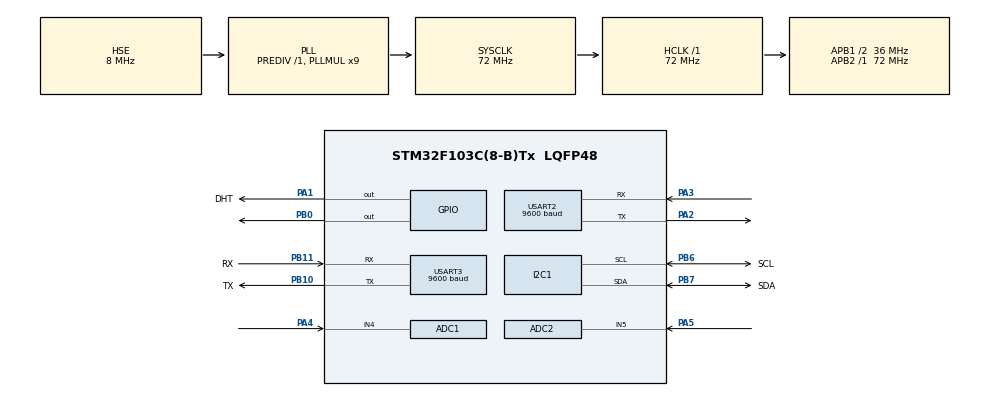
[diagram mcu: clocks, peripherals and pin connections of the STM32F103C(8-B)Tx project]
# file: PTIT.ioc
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ADC1.Channel-2\#ChannelRegularConversion=ADC_CHANNEL_4
ADC1.ContinuousConvMode=ENABLE
ADC1.NbrOfConversionFlag=1
ADC1.Rank-2\#ChannelRegularConversion=1
ADC1.SamplingTime-2\#ChannelRegularConversion=ADC_SAMPLETIME_1CYCLE_5
ADC1.master=1
ADC2.Channel-2\#ChannelRegularConversion=ADC_CHANNEL_5
ADC2.ContinuousConvMode=ENABLE
ADC2.NbrOfConversionFlag=1
ADC2.Rank-2\#ChannelRegularConversion=1
ADC2.SamplingTime-2\#ChannelRegularConversion=ADC_SAMPLETIME_1CYCLE_5
FREERTOS.Tasks01=defaultTask,0,128,StartDefaultTask,Default,NULL,Dynamic,NULL,NULL
Mcu.Family=STM32F1
Mcu.Name=STM32F103C(8-B)Tx
Mcu.Package=LQFP48
NVIC.PriorityGroup=NVIC_PRIORITYGROUP_4
NVIC.TIM4_IRQn=true\:15\:0\:false\:false\:true\:false\:false\:true\:true
NVIC.TimeBase=TIM4_IRQn
NVIC.TimeBaseIP=TIM4
NVIC.USART3_IRQn=true\:5\:0\:false\:false\:true\:true\:true\:true\:true
PA1.GPIO_Label=DHT
PA1.Signal=GPIO_Output
PA13.Mode=Serial_Wire
PA13.Signal=SYS_JTMS-SWDIO
PA14.Mode=Serial_Wire
PA14.Signal=SYS_JTCK-SWCLK
PA2.Mode=Asynchronous
PA2.Signal=USART2_TX
PA3.Mode=Asynchronous
PA3.Signal=USART2_RX
PA4.Signal=ADCx_IN4
PA5.Signal=ADCx_IN5
PB0.Signal=GPIO_Output
PB10.GPIO_Label=TX
PB10.Mode=Asynchronous
PB10.Signal=USART3_TX
PB11.GPIO_Label=RX
PB11.Mode=Asynchronous
PB11.Signal=USART3_RX
PB6.GPIO_Label=SCL
PB6.Mode=I2C
PB6.Signal=I2C1_SCL
PB7.GPIO_Label=SDA
PB7.Mode=I2C
PB7.Signal=I2C1_SDA
PD0-OSC_IN.Mode=HSE-External-Oscillator
PD0-OSC_IN.Signal=RCC_OSC_IN
PD1-OSC_OUT.Mode=HSE-External-Oscillator
PD1-OSC_OUT.Signal=RCC_OSC_OUT
ProjectManager.HeapSize=0x200
ProjectManager.StackSize=0x400
ProjectManager.TargetToolchain=MDK-ARM V5.32
RCC.ADCPresc=RCC_ADCPCLK2_DIV6
RCC.AHBFreq_Value=72000000
RCC.APB1CLKDivider=RCC_HCLK_DIV2
RCC.APB1Freq_Value=36000000
RCC.APB1TimFreq_Value=72000000
RCC.APB2Freq_Value=72000000
RCC.APB2TimFreq_Value=72000000
RCC.HCLKFreq_Value=72000000
RCC.PLLMUL=RCC_PLL_MUL9
RCC.PLLSourceVirtual=RCC_PLLSOURCE_HSE
RCC.SYSCLKFreq_VALUE=72000000
RCC.SYSCLKSource=RCC_SYSCLKSOURCE_PLLCLK
RCC.USBFreq_Value=72000000
SH.ADCx_IN4.0=ADC1_IN4,IN4
SH.ADCx_IN5.0=ADC2_IN5,IN5
TIM3.Period=0xffff-1
TIM3.Prescaler=72-1
USART2.BaudRate=9600
USART2.VirtualMode=VM_ASYNC
USART3.BaudRate=9600
USART3.VirtualMode=VM_ASYNC
VP_FREERTOS_VS_CMSIS_V1.Mode=CMSIS_V1
VP_SYS_VS_tim4.Mode=TIM4
VP_TIM3_VS_ClockSourceINT.Mode=Internal
board=custom

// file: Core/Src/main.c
/* USER CODE BEGIN Header */
/**
  ****************************************************************************
  * @file           : main.c
  * @brief          : Main program body
  ****************************************************************************
  * @attention
  *
  * Copyright (c) 2024 STMicroelectronics.
  * All rights reserved.
  *
  * This software is licensed under terms that can be found in the LICENSE file
  * in the root directory of this software component.
  * If no LICENSE file comes with this software, it is provided AS-IS.
  *
  ****************************************************************************
  */
/* USER CODE END Header */
#include "main.h"
#include "cmsis_os.h"

/* USER CODE BEGIN Includes */
#include <string.h>
#include "stdio.h"
unsigned char S[]={26};
#define SUB      HAL_UART_Transmit(&huart2,(unsigned char*)S,1,1000);
#include "CLCD_I2C.h"
/* USER CODE END Includes */

/* USER CODE BEGIN PD */

uint8_t gas;
uint8_t flame;
uint8_t THRESHOLD;

char temp[5];
char humi[5];
char send_str[33]={'\0'};
char Num_str[10]={"815123696"};
char	strmess[20] = {"gas"};
char	strmess1[20] = {"burn"};
osThreadId DHT11_TaskHandle;
osThreadId MQ2_TaskHandle;
osThreadId FlameSensor_TaskHandle;
osSemaphoreId myBinarySem01Handle;
/* USER CODE END PD */

ADC_HandleTypeDef hadc1;
ADC_HandleTypeDef hadc2;

I2C_HandleTypeDef hi2c1;

TIM_HandleTypeDef htim3;

UART_HandleTypeDef huart2;
UART_HandleTypeDef huart3;

osThreadId defaultTaskHandle;
/* USER CODE BEGIN PV */
CLCD_I2C_Name LCD1;
char rx_buffer[1];
/* USER CODE END PV */

void SystemClock_Config(void);
static void MX_GPIO_Init(void);
static void MX_USART3_UART_Init(void);
static void MX_TIM3_Init(void);
static void MX_I2C1_Init(void);
static void MX_USART2_UART_Init(void);
static void MX_ADC1_Init(void);
static void MX_ADC2_Init(void);
void StartDefaultTask(void const * argument);

/* USER CODE BEGIN PFP */
void DHT11_Task(void const * argument);
void MQ2_Task(void const * argument);
void FlameSensor_Task(void const * argument);
/* USER CODE END PFP */

/* USER CODE BEGIN 0 */
void uint8ToString(uint16_t value, char* result) {
    sprintf(result, "%u", value);
}
void	sending_sms_func(void){

	send_str[0] = '\0';
	sprintf(send_str,"AT+CSMP=17,167,0,0\r");
	HAL_UART_Transmit(&huart2,(unsigned char *)send_str,strlen(send_str),1000);
	HAL_Delay(300);
	//osDelay(300);
	send_str[0] = '\0';
	sprintf(send_str,"AT+CMGS=\"+84%s\"\r",Num_str);
	HAL_UART_Transmit(&huart2,(unsigned char *)send_str,strlen(send_str),1000);
	HAL_Delay(300);
	HAL_UART_Transmit(&huart2,(uint8_t*)strmess,strlen(strmess),1000);
	//HAL_UART_Transmit(&huart2,(unsigned char *)sending_sms_str,strlen(sending_sms_str),1000);
	SUB
HAL_Delay(1000);
}
void	calling_func(void){
	HAL_Delay(5000);
	send_str[0] = '\0';
	sprintf(send_str,"ATD+84%s;\r",Num_str);
	HAL_UART_Transmit(&huart2,(unsigned char*)send_str,strlen(send_str),1000);
	HAL_GPIO_WritePin(GPIOB,GPIO_PIN_4,	GPIO_PIN_SET);
	HAL_Delay(35000);
	send_str[0] = '\0';
	sprintf(send_str,"ATH\r");
	HAL_UART_Transmit(&huart2,(unsigned char*)send_str,strlen(send_str),1000);
	HAL_Delay(1000);
}
void	sending_sms_func1(void){

	send_str[0] = '\0';
	sprintf(send_str,"AT+CSMP=17,167,0,0\r");
	HAL_UART_Transmit(&huart2,(unsigned char *)send_str,strlen(send_str),1000);
	HAL_Delay(300);
	//osDelay(300);
	send_str[0] = '\0';
	sprintf(send_str,"AT+CMGS=\"+84%s\"\r",Num_str);
	HAL_UART_Transmit(&huart2,(unsigned char *)send_str,strlen(send_str),1000);
	HAL_Delay(300);
	HAL_UART_Transmit(&huart2,(uint8_t*)strmess1,strlen(strmess1),1000);
	//HAL_UART_Transmit(&huart2,(unsigned char *)sending_sms_str,strlen(sending_sms_str),1000);
	SUB
HAL_Delay(1000);
}
void HAL_UART_RxCpltCallback(UART_HandleTypeDef *huart){

//	switch (rx_buffer[0]){
//		case 'o':
//			pwm_Config=high;
//			break;
//		case 'f':
//			pwm_Config=low;
//		break;
//		}
	HAL_UART_Receive_IT(&huart2,(uint8_t*)rx_buffer,1);
}

/* USER CODE END 0 */

int main(void)
{

  /* MCU Configuration--------------------------------------------------------*/

  /* Reset of all peripherals, Initializes the Flash interface and the Systick. */
  HAL_Init();

  /* Configure the system clock */
  SystemClock_Config();

  /* Initialize all configured peripherals */
  MX_GPIO_Init();
  MX_USART3_UART_Init();
  MX_TIM3_Init();
  MX_I2C1_Init();
  MX_USART2_UART_Init();
  MX_ADC1_Init();
  MX_ADC2_Init();
  /* USER CODE BEGIN 2 */

	CLCD_I2C_Init(&LCD1,&hi2c1,0x4e,16,2);
	CLCD_I2C_SetCursor(&LCD1,0, 0);
  CLCD_I2C_WriteString(&LCD1,"Welcome ");
	HAL_GPIO_WritePin(GPIOA,GPIO_PIN_4,	GPIO_PIN_SET);
	HAL_ADC_Start_IT(&hadc1);
	HAL_ADC_Start_IT(&hadc2);
	HAL_UART_Receive_IT(&huart2,(uint8_t*)rx_buffer,1);
  /* USER CODE END 2 */

  /* Create the thread(s) */
  /* definition and creation of defaultTask */
	 osSemaphoreDef(myBinarySem01);
	myBinarySem01Handle = osSemaphoreCreate(osSemaphore(myBinarySem01), 1);
  osThreadDef(defaultTask, StartDefaultTask, osPriorityNormal, 0, 128);
  defaultTaskHandle = osThreadCreate(osThread(defaultTask), NULL);

  /* USER CODE BEGIN RTOS_THREADS */

  /* USER CODE BEGIN RTOS_THREADS */
//		osThreadDef(taskDHT, DHT11_Task, osPriorityNormal, 0, 128);
//  DHT11_TaskHandle = osThreadCreate(osThread(taskDHT), NULL);

	osThreadDef(taskMQ2, MQ2_Task, osPriorityNormal, 0, 128);
  MQ2_TaskHandle = osThreadCreate(osThread(taskMQ2), NULL);

	osThreadDef(taskFlame, FlameSensor_Task, osPriorityNormal, 0, 128);
  FlameSensor_TaskHandle = osThreadCreate(osThread(taskFlame), NULL);
  /* add threads, ... */
  /* USER CODE END RTOS_THREADS */

  /* Start scheduler */
  osKernelStart();

  /* We should never get here as control is now taken by the scheduler */
  /* Infinite loop */
  while (1)
  {

  }
}

void SystemClock_Config(void)
{
  RCC_OscInitTypeDef RCC_OscInitStruct = {0};
  RCC_ClkInitTypeDef RCC_ClkInitStruct = {0};
  RCC_PeriphCLKInitTypeDef PeriphClkInit = {0};

  /** Initializes the RCC Oscillators according to the specified parameters
  * in the RCC_OscInitTypeDef structure.
  */
  RCC_OscInitStruct.OscillatorType = RCC_OSCILLATORTYPE_HSE;
  RCC_OscInitStruct.HSEState = RCC_HSE_ON;
  RCC_OscInitStruct.HSEPredivValue = RCC_HSE_PREDIV_DIV1;
  RCC_OscInitStruct.HSIState = RCC_HSI_ON;
  RCC_OscInitStruct.PLL.PLLState = RCC_PLL_ON;
  RCC_OscInitStruct.PLL.PLLSource = RCC_PLLSOURCE_HSE;
  RCC_OscInitStruct.PLL.PLLMUL = RCC_PLL_MUL9;
  if (HAL_RCC_OscConfig(&RCC_OscInitStruct) != HAL_OK)
  {
    Error_Handler();
  }

  /** Initializes the CPU, AHB and APB buses clocks
  */
  RCC_ClkInitStruct.ClockType = RCC_CLOCKTYPE_HCLK|RCC_CLOCKTYPE_SYSCLK
                              |RCC_CLOCKTYPE_PCLK1|RCC_CLOCKTYPE_PCLK2;
  RCC_ClkInitStruct.SYSCLKSource = RCC_SYSCLKSOURCE_PLLCLK;
  RCC_ClkInitStruct.AHBCLKDivider = RCC_SYSCLK_DIV1;
  RCC_ClkInitStruct.APB1CLKDivider = RCC_HCLK_DIV2;
  RCC_ClkInitStruct.APB2CLKDivider = RCC_HCLK_DIV1;

  if (HAL_RCC_ClockConfig(&RCC_ClkInitStruct, FLASH_LATENCY_2) != HAL_OK)
  {
    Error_Handler();
  }
  PeriphClkInit.PeriphClockSelection = RCC_PERIPHCLK_ADC;
  PeriphClkInit.AdcClockSelection = RCC_ADCPCLK2_DIV6;
  if (HAL_RCCEx_PeriphCLKConfig(&PeriphClkInit) != HAL_OK)
  {
    Error_Handler();
  }
}

static void MX_ADC1_Init(void)
{

  ADC_ChannelConfTypeDef sConfig = {0};

  /** Common config
  */
  hadc1.Instance = ADC1;
  hadc1.Init.ScanConvMode = ADC_SCAN_DISABLE;
  hadc1.Init.ContinuousConvMode = ENABLE;
  hadc1.Init.DiscontinuousConvMode = DISABLE;
  hadc1.Init.ExternalTrigConv = ADC_SOFTWARE_START;
  hadc1.Init.DataAlign = ADC_DATAALIGN_RIGHT;
  hadc1.Init.NbrOfConversion = 1;
  if (HAL_ADC_Init(&hadc1) != HAL_OK)
  {
    Error_Handler();
  }

  /** Configure Regular Channel
  */
  sConfig.Channel = ADC_CHANNEL_4;
  sConfig.Rank = ADC_REGULAR_RANK_1;
  sConfig.SamplingTime = ADC_SAMPLETIME_1CYCLE_5;
  if (HAL_ADC_ConfigChannel(&hadc1, &sConfig) != HAL_OK)
  {
    Error_Handler();
  }

}

static void MX_ADC2_Init(void)
{

  ADC_ChannelConfTypeDef sConfig = {0};

  /** Common config
  */
  hadc2.Instance = ADC2;
  hadc2.Init.ScanConvMode = ADC_SCAN_DISABLE;
  hadc2.Init.ContinuousConvMode = ENABLE;
  hadc2.Init.DiscontinuousConvMode = DISABLE;
  hadc2.Init.ExternalTrigConv = ADC_SOFTWARE_START;
  hadc2.Init.DataAlign = ADC_DATAALIGN_RIGHT;
  hadc2.Init.NbrOfConversion = 1;
  if (HAL_ADC_Init(&hadc2) != HAL_OK)
  {
    Error_Handler();
  }

  /** Configure Regular Channel
  */
  sConfig.Channel = ADC_CHANNEL_5;
  sConfig.Rank = ADC_REGULAR_RANK_1;
  sConfig.SamplingTime = ADC_SAMPLETIME_1CYCLE_5;
  if (HAL_ADC_ConfigChannel(&hadc2, &sConfig) != HAL_OK)
  {
    Error_Handler();
  }

}

static void MX_I2C1_Init(void)
{

  hi2c1.Instance = I2C1;
  hi2c1.Init.ClockSpeed = 100000;
  hi2c1.Init.DutyCycle = I2C_DUTYCYCLE_2;
  hi2c1.Init.OwnAddress1 = 0;
  hi2c1.Init.AddressingMode = I2C_ADDRESSINGMODE_7BIT;
  hi2c1.Init.DualAddressMode = I2C_DUALADDRESS_DISABLE;
  hi2c1.Init.OwnAddress2 = 0;
  hi2c1.Init.GeneralCallMode = I2C_GENERALCALL_DISABLE;
  hi2c1.Init.NoStretchMode = I2C_NOSTRETCH_DISABLE;
  if (HAL_I2C_Init(&hi2c1) != HAL_OK)
  {
    Error_Handler();
  }

}

static void MX_TIM3_Init(void)
{

  TIM_ClockConfigTypeDef sClockSourceConfig = {0};
  TIM_MasterConfigTypeDef sMasterConfig = {0};

  htim3.Instance = TIM3;
  htim3.Init.Prescaler = 72-1;
  htim3.Init.CounterMode = TIM_COUNTERMODE_UP;
  htim3.Init.Period = 0xffff-1;
  htim3.Init.ClockDivision = TIM_CLOCKDIVISION_DIV1;
  htim3.Init.AutoReloadPreload = TIM_AUTORELOAD_PRELOAD_DISABLE;
  if (HAL_TIM_Base_Init(&htim3) != HAL_OK)
  {
    Error_Handler();
  }
  sClockSourceConfig.ClockSource = TIM_CLOCKSOURCE_INTERNAL;
  if (HAL_TIM_ConfigClockSource(&htim3, &sClockSourceConfig) != HAL_OK)
  {
    Error_Handler();
  }
  sMasterConfig.MasterOutputTrigger = TIM_TRGO_RESET;
  sMasterConfig.MasterSlaveMode = TIM_MASTERSLAVEMODE_DISABLE;
  if (HAL_TIMEx_MasterConfigSynchronization(&htim3, &sMasterConfig) != HAL_OK)
  {
    Error_Handler();
  }

}

static void MX_USART2_UART_Init(void)
{

  huart2.Instance = USART2;
  huart2.Init.BaudRate = 9600;
  huart2.Init.WordLength = UART_WORDLENGTH_8B;
  huart2.Init.StopBits = UART_STOPBITS_1;
  huart2.Init.Parity = UART_PARITY_NONE;
  huart2.Init.Mode = UART_MODE_TX_RX;
  huart2.Init.HwFlowCtl = UART_HWCONTROL_NONE;
  huart2.Init.OverSampling = UART_OVERSAMPLING_16;
  if (HAL_UART_Init(&huart2) != HAL_OK)
  {
    Error_Handler();
  }

}

static void MX_USART3_UART_Init(void)
{

  huart3.Instance = USART3;
  huart3.Init.BaudRate = 9600;
  huart3.Init.WordLength = UART_WORDLENGTH_8B;
  huart3.Init.StopBits = UART_STOPBITS_1;
  huart3.Init.Parity = UART_PARITY_NONE;
  huart3.Init.Mode = UART_MODE_TX_RX;
  huart3.Init.HwFlowCtl = UART_HWCONTROL_NONE;
  huart3.Init.OverSampling = UART_OVERSAMPLING_16;
  if (HAL_UART_Init(&huart3) != HAL_OK)
  {
    Error_Handler();
  }

}

static void MX_GPIO_Init(void)
{
  GPIO_InitTypeDef GPIO_InitStruct = {0};

  /* GPIO Ports Clock Enable */
  __HAL_RCC_GPIOD_CLK_ENABLE();
  __HAL_RCC_GPIOA_CLK_ENABLE();
  __HAL_RCC_GPIOB_CLK_ENABLE();

  /*Configure GPIO pin Output Level */
  HAL_GPIO_WritePin(DHT_GPIO_Port, DHT_Pin, GPIO_PIN_RESET);

  /*Configure GPIO pin : DHT_Pin */
  GPIO_InitStruct.Pin = DHT_Pin;
  GPIO_InitStruct.Mode = GPIO_MODE_OUTPUT_PP;
  GPIO_InitStruct.Pull = GPIO_NOPULL;
  GPIO_InitStruct.Speed = GPIO_SPEED_FREQ_LOW;
  HAL_GPIO_Init(DHT_GPIO_Port, &GPIO_InitStruct);

}

/* USER CODE BEGIN 4 */

void MQ2_Task(void const * argument) {
  for (;;) {
		//osSemaphoreWait(myBinarySem01Handle,osWaitForever);
		HAL_ADC_Start(&hadc2);
		gas= HAL_ADC_GetValue(&hadc2);
		if(gas>254){

//			char *str="cС khМ gas\r\n";
//		HAL_UART_Transmit(&huart2,(uint8_t*)str,strlen(str),1000);
			CLCD_I2C_SetCursor(&LCD1,0, 1);
			CLCD_I2C_WriteString(&LCD1,"Have gas");
			//sending_sms_func();
			calling_func();
			//HAL_GPIO_WritePin(GPIOA,GPIO_PIN_4,	GPIO_PIN_RESET);
		}
		else{
			//HAL_GPIO_WritePin(GPIOA,GPIO_PIN_4,	GPIO_PIN_SET);

			CLCD_I2C_SetCursor(&LCD1,0, 1);
    CLCD_I2C_WriteString(&LCD1,"        ");}
		//HAL_Delay(1000);
		HAL_ADC_Stop(&hadc2);
		osDelay(1000);

		osSemaphoreRelease(myBinarySem01Handle);
  }
}

void FlameSensor_Task(void const * argument) {
  for (;;) {

		osSemaphoreWait(myBinarySem01Handle,osWaitForever);
		HAL_ADC_Start(&hadc1);
		flame= HAL_ADC_GetValue(&hadc1);
		if(flame <180){
			//sending_sms_func1();
//				char *str="chАy\r\n";
//		HAL_UART_Transmit(&huart2,(uint8_t*)str,strlen(str),1000);
			CLCD_I2C_SetCursor(&LCD1,10, 1);
    CLCD_I2C_WriteString(&LCD1,"Burn");
			calling_func();
		}
		else{
			CLCD_I2C_SetCursor(&LCD1,10, 1);
    CLCD_I2C_WriteString(&LCD1,"       ");
		}
		HAL_ADC_Stop(&hadc1);
		osDelay(1000);
		//HAL_Delay(1000);

	osSemaphoreRelease(myBinarySem01Handle);
  }
}
/* USER CODE END 4 */

void StartDefaultTask(void const * argument)
{
  for(;;)
  {
    osDelay(1);
  }
}

void HAL_TIM_PeriodElapsedCallback(TIM_HandleTypeDef *htim)
{
  if (htim->Instance == TIM4) {
    HAL_IncTick();
  }
}

void Error_Handler(void)
{
  __disable_irq();
  while (1)
  {
  }
}
